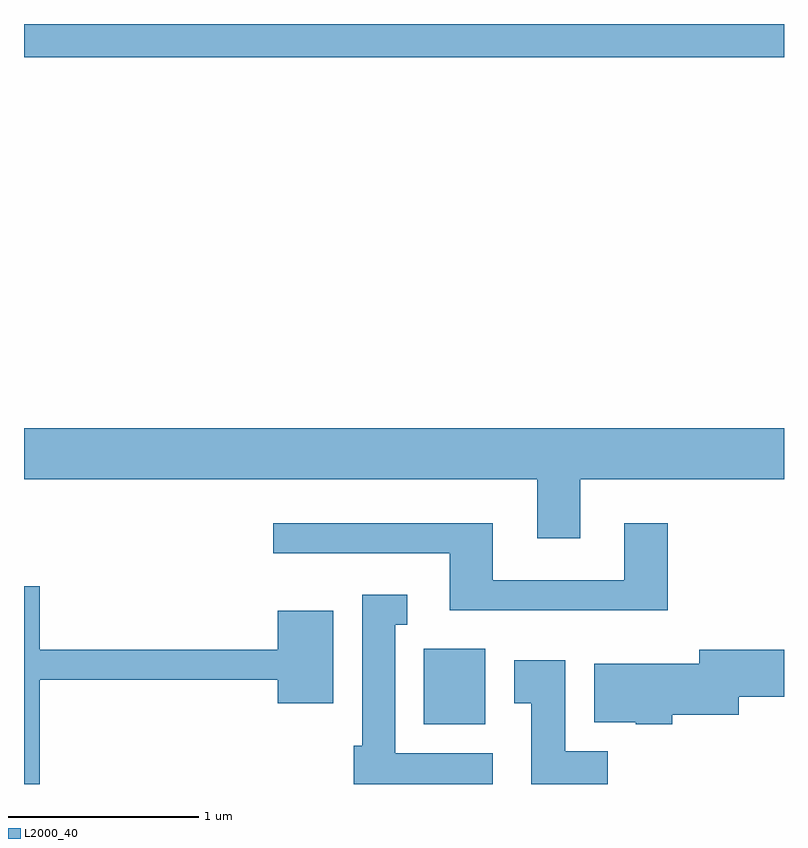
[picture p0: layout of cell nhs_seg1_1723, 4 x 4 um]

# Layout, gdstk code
import gdstk
lib = gdstk.Library(unit=1e-6, precision=1e-09)
def R(c, l, rs):  # rectangles x0, y0, x1, y1
    for r in rs: c.add(gdstk.rectangle(r[:2], r[2:], *l))
def P(c, l, *ps):  # polygons
    for p in ps: c.add(gdstk.Polygon(p, *l))
L2000_40 = (2000, 40)

nhs_seg1_1723 = lib.new_cell('nhs_seg1_1723')
R(nhs_seg1_1723, L2000_40, [(239.716,936.026,240.039,936.424), (237.611,939.536,241.611,939.712)])
P(nhs_seg1_1723, L2000_40, [(240.539,937.316),(241.611,937.316),(241.611,937.584),(237.611,937.584),(237.611,937.316),(240.311,937.316),(240.311,937.006),(240.539,937.006)],
  [(240.999,937.084),(240.771,937.084),(240.771,936.784),(240.079,936.784),(240.079,937.084),(238.923,937.084),(238.923,936.926),(239.851,936.926),(239.851,936.626),(240.999,936.626)],
  [(237.694,936.261),(238.946,936.261),(238.946,936.136),(239.239,936.136),(239.239,936.624),(238.946,936.624),(238.946,936.419),(237.694,936.419),(237.694,936.754),(237.611,936.754),(237.611,935.712),(237.694,935.712)],
  [(240.079,935.874),(239.564,935.874),(239.564,936.551),(239.628,936.551),(239.628,936.709),(239.391,936.709),(239.391,935.914),(239.346,935.914),(239.346,935.712),(240.079,935.712)],
  [(241.024,936.076),(241.374,936.076),(241.374,936.171),(241.611,936.171),(241.611,936.419),(241.166,936.419),(241.166,936.344),(240.611,936.344),(240.611,936.036),(240.83,936.036),(240.83,936.026),(241.024,936.026)],
  [(240.684,935.884),(240.459,935.884),(240.459,936.364),(240.191,936.364),(240.191,936.136),(240.281,936.136),(240.281,935.712),(240.684,935.712)])

lib.write_gds('nhs_seg1_1723.gds')
